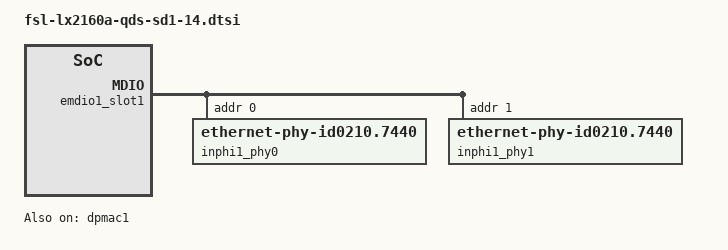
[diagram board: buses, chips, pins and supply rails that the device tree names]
// SPDX-License-Identifier: GPL-2.0+ OR X11
/*
 * NXP LX2160AQDS device tree source for the SERDES block #1 - protocol 14
 *
 * Some assumptions are made:
 *    * mezzanine card M8 (100G) is connected to IO SLOT 1 - DPMAC 1
 *
 * Copyright 2021-2022 NXP
 *
 */

#include "fsl-lx2160a-qds.dtsi"

&dpmac1 {
	status = "okay";
	phy-handle = <&inphi1_phy0 &inphi1_phy1>;
	phy-connection-type = "caui4";
};

&emdio1_slot1 {
	inphi1_phy0: ethernet-phy@0 {
		compatible = "ethernet-phy-id0210.7440";
		reg = <0x0>;
	};

	inphi1_phy1: ethernet-phy@1 {
		compatible = "ethernet-phy-id0210.7440";
		reg = <0x1>;
	};
};
